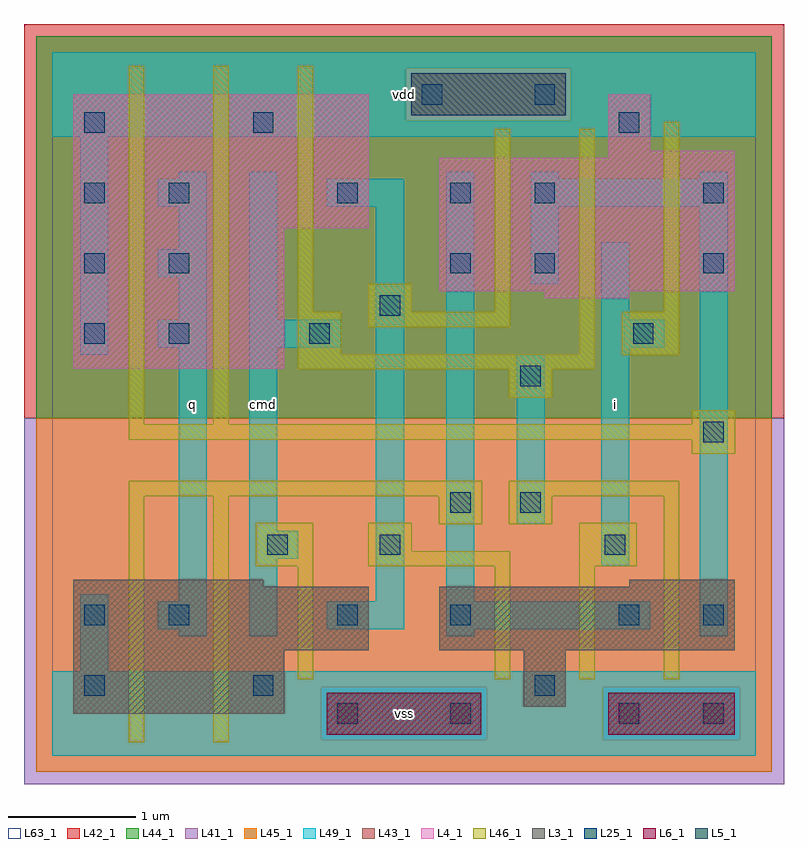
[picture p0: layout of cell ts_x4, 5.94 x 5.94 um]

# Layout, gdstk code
import gdstk
lib = gdstk.Library(unit=1e-6, precision=1e-09)
def R(c, l, rs):  # rectangles x0, y0, x1, y1
    for r in rs: c.add(gdstk.rectangle(r[:2], r[2:], *l))
def A(c, l, x, y, w, h, nx, ny, dx, dy):  # array of equal rectangles
    R(c, l, [(x+i*dx, y+j*dy, x+i*dx+w, y+j*dy+h) for i in range(nx) for j in range(ny)])
L3_1 = (3, 1)
L4_1 = (4, 1)
L5_1 = (5, 1)
L6_1 = (6, 1)
L25_1 = (25, 1)
L41_1 = (41, 1)
L42_1 = (42, 1)
L43_1 = (43, 1)
L44_1 = (44, 1)
L45_1 = (45, 1)
L46_1 = (46, 1)
L49_1 = (49, 1)
L63_1 = (63, 1)

ts_x4 = lib.new_cell('ts_x4')
R(ts_x4, L3_1, [(0.165,0.33,1.815,0.825), (3.685,0.385,4.015,0.825), (0.165,0.825,2.475,1.32), (3.025,0.825,5.335,1.32), (0.165,1.32,1.65,1.375), (4.51,1.32,5.335,1.375)])
R(ts_x4, L4_1, [(0.165,3.025,1.815,4.125), (3.85,3.575,4.51,3.63), (3.025,3.63,5.335,4.675), (0.165,4.125,2.475,5.17), (4.345,4.675,5.335,4.73), (4.345,4.73,4.675,5.17)])
R(ts_x4, L5_1, [(2.805,5.005,4.015,5.335)])
R(ts_x4, L6_1, [(2.145,0.165,3.355,0.495), (4.345,0.165,5.335,0.495)])
A(ts_x4, L25_1, 0.25, 3.22, 0.16, 0.16, 1, 4, 0, 0.55)
A(ts_x4, L25_1, 0.91, 3.22, 0.16, 0.16, 1, 3, 0, 0.55)
R(ts_x4, L25_1, [(2.23,0.25,2.39,0.41), (3.11,0.25,3.27,0.41), (4.43,0.25,4.59,0.41), (5.09,0.25,5.25,0.41), (0.25,0.47,0.41,0.63), (1.57,0.47,1.73,0.63), (3.77,0.47,3.93,0.63), (0.25,1.02,0.41,1.18), (0.91,1.02,1.07,1.18), (2.23,1.02,2.39,1.18), (3.11,1.02,3.27,1.18), (4.43,1.02,4.59,1.18), (5.09,1.02,5.25,1.18), (1.68,1.57,1.84,1.73), (2.56,1.57,2.72,1.73), (4.32,1.57,4.48,1.73), (3.11,1.9,3.27,2.06), (3.66,1.9,3.82,2.06), (5.09,2.45,5.25,2.61), (3.66,2.89,3.82,3.05), (2.01,3.22,2.17,3.38), (4.54,3.22,4.7,3.38), (2.56,3.44,2.72,3.6), (3.11,3.77,3.27,3.93), (3.77,3.77,3.93,3.93), (5.09,3.77,5.25,3.93), (2.23,4.32,2.39,4.48), (3.11,4.32,3.27,4.48), (3.77,4.32,3.93,4.48), (5.09,4.32,5.25,4.48), (1.57,4.87,1.73,5.03), (4.43,4.87,4.59,5.03), (2.89,5.09,3.05,5.25), (3.77,5.09,3.93,5.25)])
R(ts_x4, L41_1, [(-0.22,-0.22,5.72,2.64)])
R(ts_x4, L42_1, [(-0.22,2.64,5.72,5.72)])
R(ts_x4, L43_1, [(2.145,0.165,3.355,0.495), (4.345,0.165,5.335,0.495), (0.165,0.33,1.815,0.825), (3.685,0.385,4.015,0.825), (0.165,0.825,2.475,1.32), (3.025,0.825,5.335,1.32), (0.165,1.32,1.65,1.375), (4.51,1.32,5.335,1.375), (0.165,3.025,1.815,4.125), (3.85,3.575,4.51,3.63), (3.025,3.63,5.335,4.675), (0.165,4.125,2.475,5.17), (4.345,4.675,5.335,4.73), (4.345,4.73,4.675,5.17), (2.805,5.005,4.015,5.335)])
R(ts_x4, L44_1, [(2.105,0.125,3.395,0.535), (4.305,0.125,5.375,0.535), (-0.125,2.64,5.625,4.965), (-0.125,4.965,2.765,5.375), (4.055,4.965,5.625,5.375), (-0.125,5.375,5.625,5.625)])
R(ts_x4, L45_1, [(-0.125,-0.125,5.625,0.125), (-0.125,0.125,2.105,0.535), (3.395,0.125,4.305,0.535), (5.375,0.125,5.625,0.535), (-0.125,0.535,5.625,2.64), (2.765,4.965,4.055,5.375)])
R(ts_x4, L46_1, [(0.6,0.105,0.72,2.03), (1.26,0.105,1.38,2.03), (1.92,0.6,2.04,1.48), (3.46,0.6,3.58,1.48), (4.12,0.6,4.24,1.48), (4.78,0.6,4.9,2.03), (1.59,1.48,2.04,1.82), (2.47,1.48,3.58,1.6), (4.12,1.48,4.57,1.82), (2.47,1.6,2.81,1.82), (3.02,1.81,3.36,2.03), (3.57,1.81,3.91,2.03), (0.6,2.03,3.36,2.15), (3.57,2.03,4.9,2.15), (5,2.36,5.34,2.47), (0.6,2.47,5.34,2.59), (0.6,2.59,0.72,5.395), (1.26,2.59,1.38,5.395), (5,2.59,5.34,2.7), (3.57,2.8,3.91,3.02), (1.92,3.02,4.24,3.14), (4.45,3.13,4.9,3.47), (1.92,3.14,2.26,3.47), (4.12,3.14,4.24,4.9), (2.47,3.35,3.58,3.47), (1.92,3.47,2.04,5.395), (2.47,3.47,2.81,3.69), (3.46,3.47,3.58,4.9), (4.78,3.47,4.9,4.955)])
A(ts_x4, L49_1, 0.825, 3.19, 0.385, 0.22, 1, 3, 0, 0.55)
R(ts_x4, L49_1, [(0,0,5.5,0.66), (0.22,0.66,0.44,1.265), (0.99,0.935,1.21,0.99), (1.54,0.935,1.76,1.54), (3.08,0.935,3.3,0.99), (5.06,0.935,5.28,4.29), (0.825,0.99,1.21,1.21), (2.145,0.99,2.75,1.21), (3.08,0.99,4.675,1.21), (0.99,1.21,1.21,3.19), (2.53,1.21,2.75,4.29), (3.08,1.21,3.3,4.565), (4.29,1.485,4.51,3.19), (1.54,1.54,1.925,1.76), (1.54,1.76,1.76,3.19), (3.63,1.815,3.85,3.135), (0.22,3.135,0.44,4.84), (1.54,3.19,2.255,3.41), (4.29,3.19,4.785,3.41), (0.99,3.41,1.21,3.74), (1.54,3.41,1.76,4.565), (4.29,3.41,4.51,4.015), (3.74,3.685,3.96,4.29), (0.99,3.96,1.21,4.29), (2.145,4.29,2.75,4.51), (3.74,4.29,5.28,4.51), (0.99,4.51,1.21,4.565), (3.74,4.51,3.96,4.565), (5.06,4.51,5.28,4.565), (0,4.84,5.5,5.5)])
R(ts_x4, L63_1, [(0,0,5.5,5.5)])
ts_x4.add(gdstk.Label('q', (1.1,2.75), layer=49, texttype=1))
ts_x4.add(gdstk.Label('cmd', (1.65,2.75), layer=49, texttype=1))
ts_x4.add(gdstk.Label('vss', (2.75,0.33), layer=49, texttype=1))
ts_x4.add(gdstk.Label('vdd', (2.75,5.17), layer=49, texttype=1))
ts_x4.add(gdstk.Label('i', (4.4,2.75), layer=49, texttype=1))

lib.write_gds('ts_x4.gds')
